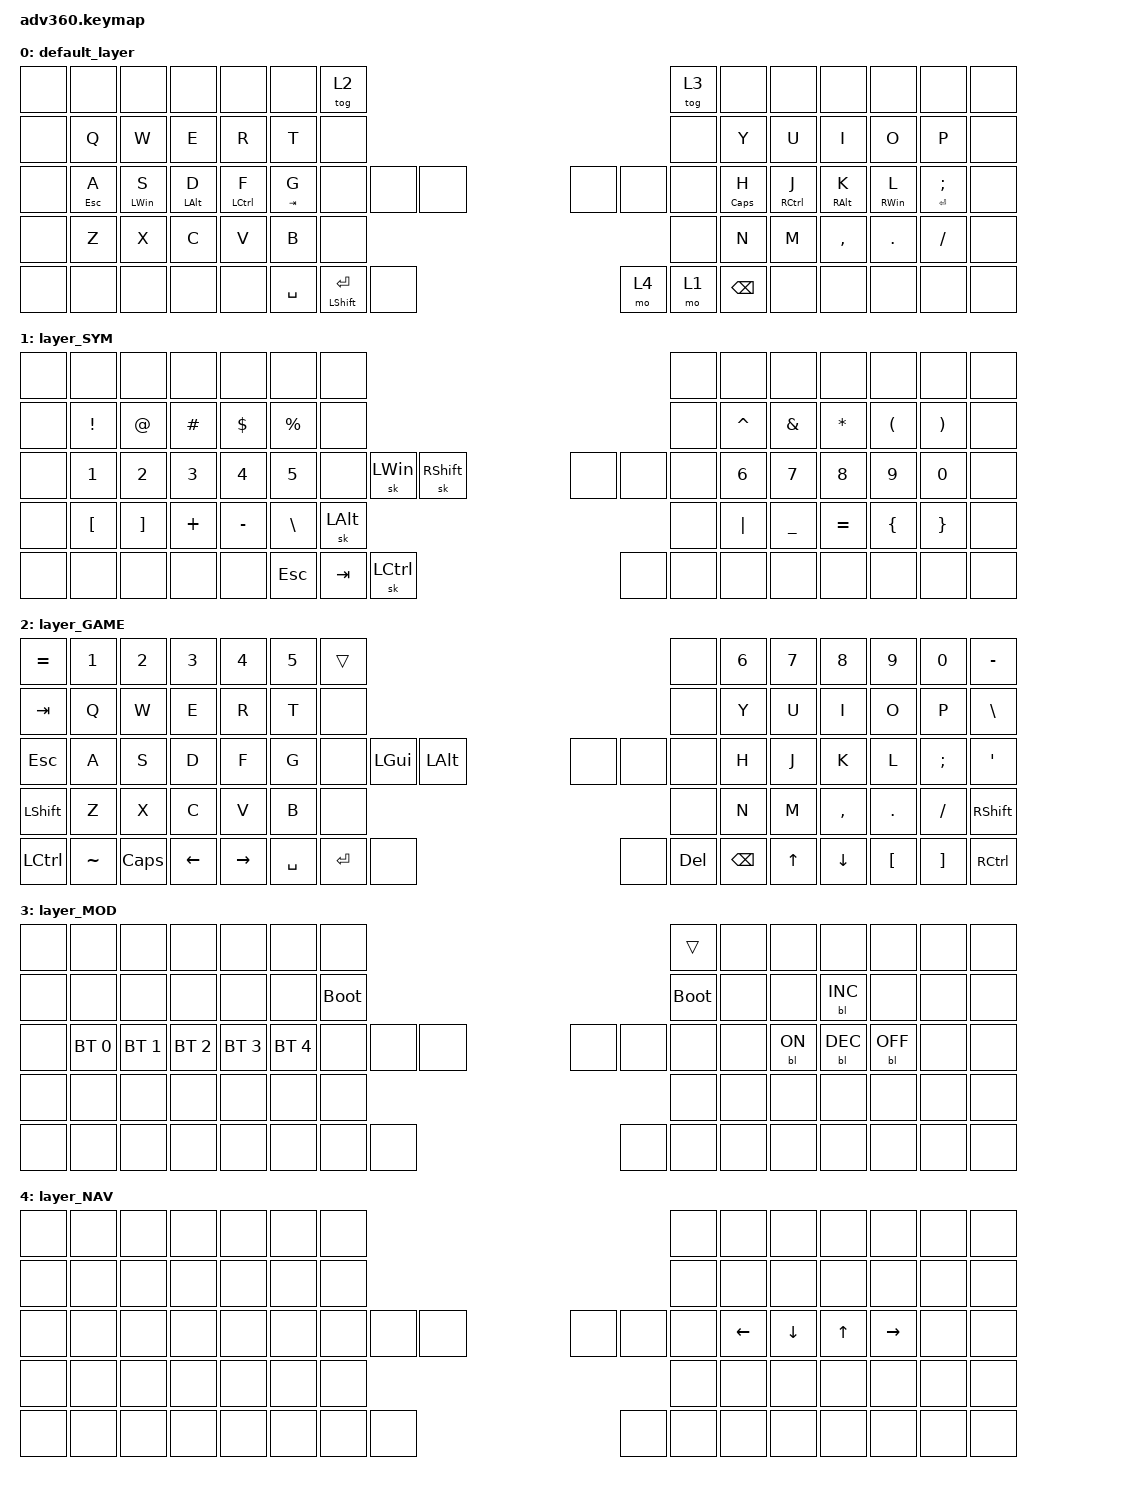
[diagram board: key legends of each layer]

/*
 * Copyright (c) 2020 The ZMK Contributors
 *
 * SPDX-License-Identifier: MIT
 */


/* THIS FILE WAS GENERATED!
 *
 * This file was generated automatically. You may or may not want to
 * edit it directly.
 */

#include <behaviors.dtsi>
#include <dt-bindings/zmk/keys.h>
#include <dt-bindings/zmk/backlight.h>
#include <dt-bindings/zmk/bt.h>

/ {
  behaviors {
    #include "macros.dtsi"
    #include "version.dtsi"

    hm: homerow_mods {
        compatible = "zmk,behavior-hold-tap";
        #binding-cells = <2>;
        label = "HOMEROW_MODS";
        tapping-term-ms = <200>;
        quick_tap_ms = <175>;
        flavor = "balanced";
        require-prior-idle-ms = <150>;
        bindings = <&kp>, <&kp>;
    };
  };

    keymap {
        compatible = "zmk,keymap";


        default_layer {
            bindings = <
  &none      &none           &none           &none        &none      &none               &tog 2                                                                       &tog 3       &none        &none            &none            &none           &none   &none
  &none      &kp Q           &kp W           &kp E        &kp R      &kp T                &none                                                                        &none       &kp Y        &kp U            &kp I            &kp O           &kp P   &none
  &none  &hm ESC A  &hm LEFT_WIN S  &hm LEFT_ALT D  &hm LCTRL F  &hm TAB G                &none                 &none   &none                   &none   &none          &none  &hm CAPS H  &hm RCTRL J  &hm RIGHT_ALT K  &hm RIGHT_WIN L  &hm ENTER SEMI   &none
  &none      &kp Z           &kp X           &kp C        &kp V      &kp B                                              &none                   &none                              &kp N        &kp M        &kp COMMA          &kp DOT       &kp SLASH   &none
  &none      &none           &none           &none        &none                       &kp SPACE  &mt LEFT_SHIFT ENTER   &none                   &mo 4   &mo 1  &kp BACKSPACE                    &none            &none            &none           &none   &none
            >;
        };

        layer_SYM {
            bindings = <
  &none             &none              &none         &none         &none          &none              &none                                                               &none         &none          &none         &none                 &none                  &none   &none
  &none          &kp EXCL             &kp AT      &kp HASH    &kp DOLLAR      &kp PRCNT              &none                                                               &none     &kp CARET  &kp AMPERSAND      &kp STAR  &kp LEFT_PARENTHESIS  &kp RIGHT_PARENTHESIS   &none
  &none      &kp NUMBER_1       &kp NUMBER_2  &kp NUMBER_3  &kp NUMBER_4   &kp NUMBER_5              &none  &sk LEFT_WIN     &sk RSHFT                   &none   &none   &none  &kp NUMBER_6   &kp NUMBER_7  &kp NUMBER_8          &kp NUMBER_9           &kp NUMBER_0   &none
  &none  &kp LEFT_BRACKET  &kp RIGHT_BRACKET      &kp PLUS     &kp MINUS  &kp BACKSLASH                                   &sk LEFT_ALT                   &none                      &kp PIPE      &kp UNDER     &kp EQUAL        &kp LEFT_BRACE        &kp RIGHT_BRACE   &none
  &none             &none              &none         &none         &none                           &kp ESC       &kp TAB     &sk LCTRL                   &none   &none   &none                        &none         &none                 &none                  &none   &none
            >;
        };

        layer_GAME {
            bindings = <
 &kp EQUAL     &kp N1    &kp N2          &kp N3           &kp N4  &kp N5               &trans                                                              &none  &kp N6        &kp N7          &kp N8            &kp N9             &kp N0      &kp MINUS
   &kp TAB      &kp Q     &kp W           &kp E            &kp R   &kp T                &none                                                              &none   &kp Y         &kp U           &kp I             &kp O              &kp P  &kp BACKSLASH
   &kp ESC      &kp A     &kp S           &kp D            &kp F   &kp G                &none  &kp LEFT_GUI  &kp LALT                   &none    &none     &none   &kp H         &kp J           &kp K             &kp L           &kp SEMI       &kp APOS
 &kp LSHFT      &kp Z     &kp X           &kp C            &kp V   &kp B                                        &none                   &none                      &kp N         &kp M       &kp COMMA           &kp DOT          &kp SLASH      &kp RSHFT
 &kp LCTRL  &kp TILDE  &kp CAPS  &kp LEFT_ARROW  &kp RIGHT_ARROW                    &kp SPACE     &kp ENTER     &none                   &none  &kp DEL  &kp BSPC          &kp UP_ARROW  &kp DOWN_ARROW  &kp LEFT_BRACKET  &kp RIGHT_BRACKET      &kp RCTRL
            >;
        };

        layer_MOD {
            bindings = <
  &none         &none         &none         &none         &none         &none                  &none                                                       &trans   &none      &none       &none       &none   &none   &none
  &none         &none         &none         &none         &none         &none            &bootloader                                                  &bootloader   &none      &none  &bl BL_INC       &none   &none   &none
  &none  &bt BT_SEL 0  &bt BT_SEL 1  &bt BT_SEL 2  &bt BT_SEL 3  &bt BT_SEL 4                  &none   &none   &none                   &none   &none        &none   &none  &bl BL_ON  &bl BL_DEC  &bl BL_OFF   &none   &none
  &none         &none         &none         &none         &none         &none                                  &none                   &none                        &none      &none       &none       &none   &none   &none
  &none         &none         &none         &none         &none                                &none   &none   &none                   &none   &none        &none              &none       &none       &none   &none   &none
            >;
        };

        layer_NAV {
            bindings = <
  &none   &none   &none   &none   &none   &none            &none                                                   &none     &none     &none   &none      &none   &none   &none
  &none   &none   &none   &none   &none   &none            &none                                                   &none     &none     &none   &none      &none   &none   &none
  &none   &none   &none   &none   &none   &none            &none   &none   &none                   &none   &none   &none  &kp LEFT  &kp DOWN  &kp UP  &kp RIGHT   &none   &none
  &none   &none   &none   &none   &none   &none                            &none                   &none                     &none     &none   &none      &none   &none   &none
  &none   &none   &none   &none   &none                    &none   &none   &none                   &none   &none   &none               &none   &none      &none   &none   &none
            >;
        };

    };
};
